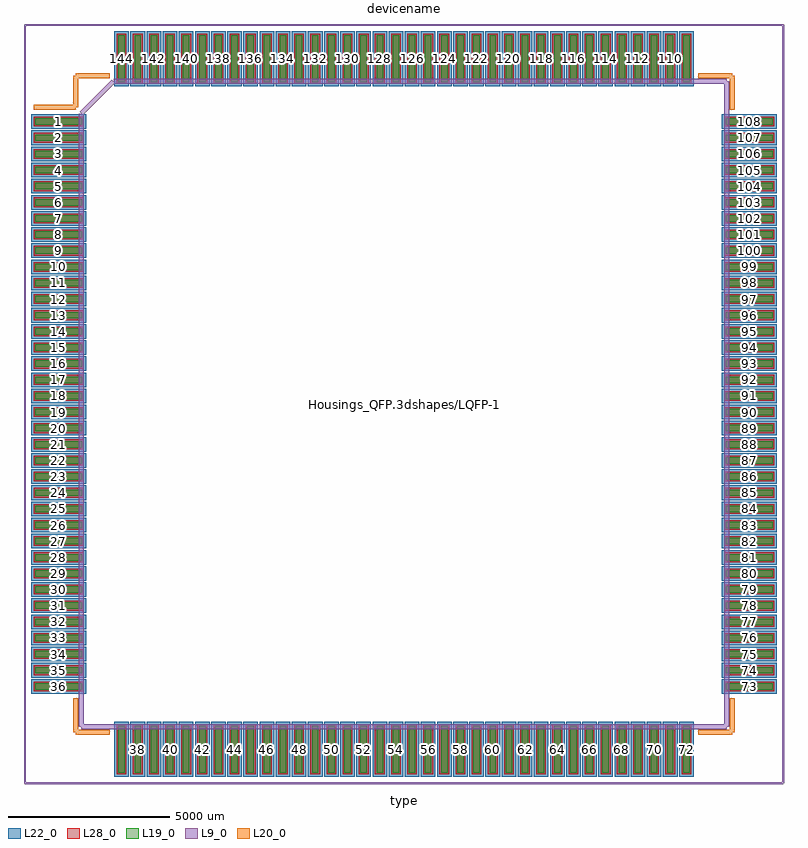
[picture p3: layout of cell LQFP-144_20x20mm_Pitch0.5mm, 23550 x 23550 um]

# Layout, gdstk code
import gdstk
lib = gdstk.Library(unit=1e-6, precision=1e-09)
def R(c, l, rs):  # rectangles x0, y0, x1, y1
    for r in rs: c.add(gdstk.rectangle(r[:2], r[2:], *l))
def A(c, l, x, y, w, h, nx, ny, dx, dy):  # array of equal rectangles
    R(c, l, [(x+i*dx, y+j*dy, x+i*dx+w, y+j*dy+h) for i in range(nx) for j in range(ny)])
L9_0 = (9, 0)
L19_0 = (19, 0)
L20_0 = (20, 0)
L22_0 = (22, 0)
L28_0 = (28, 0)

lqfp_144_20x20mm_pitch0_ = lib.new_cell('LQFP-144_20x20mm_Pitch0.5mm')
A(lqfp_144_20x20mm_pitch0_, L19_0, -8850, -11425, 200, 1450, 36, 2, 500, 21400)
A(lqfp_144_20x20mm_pitch0_, L19_0, -11425, -8850, 1450, 200, 1, 36, 0, 500)
A(lqfp_144_20x20mm_pitch0_, L19_0, 9975, -8850, 1450, 200, 1, 36, 0, 500)
A(lqfp_144_20x20mm_pitch0_, L22_0, -8975, -11550, 450, 1700, 36, 2, 500, 21400)
A(lqfp_144_20x20mm_pitch0_, L22_0, -11550, -8975, 1700, 450, 1, 36, 0, 500)
A(lqfp_144_20x20mm_pitch0_, L22_0, 9850, -8975, 1700, 450, 1, 36, 0, 500)
A(lqfp_144_20x20mm_pitch0_, L28_0, -8900, -11475, 300, 1550, 36, 2, 500, 21400)
A(lqfp_144_20x20mm_pitch0_, L28_0, -11475, -8900, 1550, 300, 1, 36, 0, 500)
A(lqfp_144_20x20mm_pitch0_, L28_0, 9925, -8900, 1550, 300, 1, 36, 0, 500)
lqfp_144_20x20mm_pitch0_.add(gdstk.FlexPath([(-10175,9200),(-11475,9200)], 149.998, ends="flush", simple_path=True, layer=20, datatype=0))  # L20_0
lqfp_144_20x20mm_pitch0_.add(gdstk.FlexPath([(10175,10175),(9125,10175)], 149.998, ends="flush", simple_path=True, layer=20, datatype=0))  # L20_0
lqfp_144_20x20mm_pitch0_.add(gdstk.FlexPath([(10175,-10175),(9125,-10175)], 149.998, ends="flush", simple_path=True, layer=20, datatype=0))  # L20_0
lqfp_144_20x20mm_pitch0_.add(gdstk.FlexPath([(-10175,-10175),(-9125,-10175)], 149.998, ends="flush", simple_path=True, layer=20, datatype=0))  # L20_0
lqfp_144_20x20mm_pitch0_.add(gdstk.FlexPath([(-10175,10175),(-9125,10175)], 149.998, ends="flush", simple_path=True, layer=20, datatype=0))  # L20_0
lqfp_144_20x20mm_pitch0_.add(gdstk.FlexPath([(-10175,-10175),(-10175,-9125)], 149.998, ends="flush", simple_path=True, layer=20, datatype=0))  # L20_0
lqfp_144_20x20mm_pitch0_.add(gdstk.FlexPath([(10175,-10175),(10175,-9125)], 149.998, ends="flush", simple_path=True, layer=20, datatype=0))  # L20_0
lqfp_144_20x20mm_pitch0_.add(gdstk.FlexPath([(10175,10175),(10175,9125)], 149.998, ends="flush", simple_path=True, layer=20, datatype=0))  # L20_0
lqfp_144_20x20mm_pitch0_.add(gdstk.FlexPath([(-10175,10175),(-10175,9200)], 149.998, ends="flush", simple_path=True, layer=20, datatype=0))  # L20_0
lqfp_144_20x20mm_pitch0_.add(gdstk.FlexPath([(-11750,-11750),(11750,-11750)], 50, ends="flush", simple_path=True, layer=9, datatype=0))  # L9_0
lqfp_144_20x20mm_pitch0_.add(gdstk.FlexPath([(-11750,11750),(11750,11750)], 50, ends="flush", simple_path=True, layer=9, datatype=0))  # L9_0
lqfp_144_20x20mm_pitch0_.add(gdstk.FlexPath([(11750,11750),(11750,-11750)], 50, ends="flush", simple_path=True, layer=9, datatype=0))  # L9_0
lqfp_144_20x20mm_pitch0_.add(gdstk.FlexPath([(-11750,11750),(-11750,-11750)], 50, ends="flush", simple_path=True, layer=9, datatype=0))  # L9_0
lqfp_144_20x20mm_pitch0_.add(gdstk.FlexPath([(-10000,9000),(-9000,10000)], 149.998, ends="flush", simple_path=True, layer=9, datatype=0))  # L9_0
lqfp_144_20x20mm_pitch0_.add(gdstk.FlexPath([(-10000,-10000),(-10000,9000)], 149.998, ends="flush", simple_path=True, layer=9, datatype=0))  # L9_0
lqfp_144_20x20mm_pitch0_.add(gdstk.FlexPath([(10000,-10000),(-10000,-10000)], 149.998, ends="flush", simple_path=True, layer=9, datatype=0))  # L9_0
lqfp_144_20x20mm_pitch0_.add(gdstk.FlexPath([(10000,10000),(10000,-10000)], 149.998, ends="flush", simple_path=True, layer=9, datatype=0))  # L9_0
lqfp_144_20x20mm_pitch0_.add(gdstk.FlexPath([(-9000,10000),(10000,10000)], 149.998, ends="flush", simple_path=True, layer=9, datatype=0))  # L9_0
lqfp_144_20x20mm_pitch0_.add(gdstk.Label('Housings_QFP.3dshapes/LQFP-144_20x20mm_Pitch0.5mm.wrl', (0,0), layer=12, texttype=0))
lqfp_144_20x20mm_pitch0_.add(gdstk.Label('144', (-8750,10700), layer=28, texttype=0))
lqfp_144_20x20mm_pitch0_.add(gdstk.Label('143', (-8250,10700), layer=28, texttype=0))
lqfp_144_20x20mm_pitch0_.add(gdstk.Label('142', (-7750,10700), layer=28, texttype=0))
lqfp_144_20x20mm_pitch0_.add(gdstk.Label('141', (-7250,10700), layer=28, texttype=0))
lqfp_144_20x20mm_pitch0_.add(gdstk.Label('140', (-6750,10700), layer=28, texttype=0))
lqfp_144_20x20mm_pitch0_.add(gdstk.Label('139', (-6250,10700), layer=28, texttype=0))
lqfp_144_20x20mm_pitch0_.add(gdstk.Label('138', (-5750,10700), layer=28, texttype=0))
lqfp_144_20x20mm_pitch0_.add(gdstk.Label('137', (-5250,10700), layer=28, texttype=0))
lqfp_144_20x20mm_pitch0_.add(gdstk.Label('136', (-4750,10700), layer=28, texttype=0))
lqfp_144_20x20mm_pitch0_.add(gdstk.Label('135', (-4250,10700), layer=28, texttype=0))
lqfp_144_20x20mm_pitch0_.add(gdstk.Label('134', (-3750,10700), layer=28, texttype=0))
lqfp_144_20x20mm_pitch0_.add(gdstk.Label('133', (-3250,10700), layer=28, texttype=0))
lqfp_144_20x20mm_pitch0_.add(gdstk.Label('132', (-2750,10700), layer=28, texttype=0))
lqfp_144_20x20mm_pitch0_.add(gdstk.Label('131', (-2250,10700), layer=28, texttype=0))
lqfp_144_20x20mm_pitch0_.add(gdstk.Label('130', (-1750,10700), layer=28, texttype=0))
lqfp_144_20x20mm_pitch0_.add(gdstk.Label('129', (-1250,10700), layer=28, texttype=0))
lqfp_144_20x20mm_pitch0_.add(gdstk.Label('128', (-750,10700), layer=28, texttype=0))
lqfp_144_20x20mm_pitch0_.add(gdstk.Label('127', (-250,10700), layer=28, texttype=0))
lqfp_144_20x20mm_pitch0_.add(gdstk.Label('126', (250,10700), layer=28, texttype=0))
lqfp_144_20x20mm_pitch0_.add(gdstk.Label('125', (750,10700), layer=28, texttype=0))
lqfp_144_20x20mm_pitch0_.add(gdstk.Label('124', (1250,10700), layer=28, texttype=0))
lqfp_144_20x20mm_pitch0_.add(gdstk.Label('123', (1750,10700), layer=28, texttype=0))
lqfp_144_20x20mm_pitch0_.add(gdstk.Label('122', (2250,10700), layer=28, texttype=0))
lqfp_144_20x20mm_pitch0_.add(gdstk.Label('121', (2750,10700), layer=28, texttype=0))
lqfp_144_20x20mm_pitch0_.add(gdstk.Label('120', (3250,10700), layer=28, texttype=0))
lqfp_144_20x20mm_pitch0_.add(gdstk.Label('119', (3750,10700), layer=28, texttype=0))
lqfp_144_20x20mm_pitch0_.add(gdstk.Label('118', (4250,10700), layer=28, texttype=0))
lqfp_144_20x20mm_pitch0_.add(gdstk.Label('117', (4750,10700), layer=28, texttype=0))
lqfp_144_20x20mm_pitch0_.add(gdstk.Label('116', (5250,10700), layer=28, texttype=0))
lqfp_144_20x20mm_pitch0_.add(gdstk.Label('115', (5750,10700), layer=28, texttype=0))
lqfp_144_20x20mm_pitch0_.add(gdstk.Label('114', (6250,10700), layer=28, texttype=0))
lqfp_144_20x20mm_pitch0_.add(gdstk.Label('113', (6750,10700), layer=28, texttype=0))
lqfp_144_20x20mm_pitch0_.add(gdstk.Label('112', (7250,10700), layer=28, texttype=0))
lqfp_144_20x20mm_pitch0_.add(gdstk.Label('111', (7750,10700), layer=28, texttype=0))
lqfp_144_20x20mm_pitch0_.add(gdstk.Label('110', (8250,10700), layer=28, texttype=0))
lqfp_144_20x20mm_pitch0_.add(gdstk.Label('109', (8750,10700), layer=28, texttype=0))
lqfp_144_20x20mm_pitch0_.add(gdstk.Label('108', (10700,8750), layer=28, texttype=0))
lqfp_144_20x20mm_pitch0_.add(gdstk.Label('107', (10700,8250), layer=28, texttype=0))
lqfp_144_20x20mm_pitch0_.add(gdstk.Label('106', (10700,7750), layer=28, texttype=0))
lqfp_144_20x20mm_pitch0_.add(gdstk.Label('105', (10700,7250), layer=28, texttype=0))
lqfp_144_20x20mm_pitch0_.add(gdstk.Label('104', (10700,6750), layer=28, texttype=0))
lqfp_144_20x20mm_pitch0_.add(gdstk.Label('103', (10700,6250), layer=28, texttype=0))
lqfp_144_20x20mm_pitch0_.add(gdstk.Label('102', (10700,5750), layer=28, texttype=0))
lqfp_144_20x20mm_pitch0_.add(gdstk.Label('101', (10700,5250), layer=28, texttype=0))
lqfp_144_20x20mm_pitch0_.add(gdstk.Label('100', (10700,4750), layer=28, texttype=0))
lqfp_144_20x20mm_pitch0_.add(gdstk.Label('99', (10700,4250), layer=28, texttype=0))
lqfp_144_20x20mm_pitch0_.add(gdstk.Label('98', (10700,3750), layer=28, texttype=0))
lqfp_144_20x20mm_pitch0_.add(gdstk.Label('97', (10700,3250), layer=28, texttype=0))
lqfp_144_20x20mm_pitch0_.add(gdstk.Label('96', (10700,2750), layer=28, texttype=0))
lqfp_144_20x20mm_pitch0_.add(gdstk.Label('95', (10700,2250), layer=28, texttype=0))
lqfp_144_20x20mm_pitch0_.add(gdstk.Label('94', (10700,1750), layer=28, texttype=0))
lqfp_144_20x20mm_pitch0_.add(gdstk.Label('93', (10700,1250), layer=28, texttype=0))
lqfp_144_20x20mm_pitch0_.add(gdstk.Label('92', (10700,750), layer=28, texttype=0))
lqfp_144_20x20mm_pitch0_.add(gdstk.Label('91', (10700,250), layer=28, texttype=0))
lqfp_144_20x20mm_pitch0_.add(gdstk.Label('90', (10700,-250), layer=28, texttype=0))
lqfp_144_20x20mm_pitch0_.add(gdstk.Label('89', (10700,-750), layer=28, texttype=0))
lqfp_144_20x20mm_pitch0_.add(gdstk.Label('88', (10700,-1250), layer=28, texttype=0))
lqfp_144_20x20mm_pitch0_.add(gdstk.Label('87', (10700,-1750), layer=28, texttype=0))
lqfp_144_20x20mm_pitch0_.add(gdstk.Label('86', (10700,-2250), layer=28, texttype=0))
lqfp_144_20x20mm_pitch0_.add(gdstk.Label('85', (10700,-2750), layer=28, texttype=0))
lqfp_144_20x20mm_pitch0_.add(gdstk.Label('84', (10700,-3250), layer=28, texttype=0))
lqfp_144_20x20mm_pitch0_.add(gdstk.Label('83', (10700,-3750), layer=28, texttype=0))
lqfp_144_20x20mm_pitch0_.add(gdstk.Label('82', (10700,-4250), layer=28, texttype=0))
lqfp_144_20x20mm_pitch0_.add(gdstk.Label('81', (10700,-4750), layer=28, texttype=0))
lqfp_144_20x20mm_pitch0_.add(gdstk.Label('80', (10700,-5250), layer=28, texttype=0))
lqfp_144_20x20mm_pitch0_.add(gdstk.Label('79', (10700,-5750), layer=28, texttype=0))
lqfp_144_20x20mm_pitch0_.add(gdstk.Label('78', (10700,-6250), layer=28, texttype=0))
lqfp_144_20x20mm_pitch0_.add(gdstk.Label('77', (10700,-6750), layer=28, texttype=0))
lqfp_144_20x20mm_pitch0_.add(gdstk.Label('76', (10700,-7250), layer=28, texttype=0))
lqfp_144_20x20mm_pitch0_.add(gdstk.Label('75', (10700,-7750), layer=28, texttype=0))
lqfp_144_20x20mm_pitch0_.add(gdstk.Label('74', (10700,-8250), layer=28, texttype=0))
lqfp_144_20x20mm_pitch0_.add(gdstk.Label('73', (10700,-8750), layer=28, texttype=0))
lqfp_144_20x20mm_pitch0_.add(gdstk.Label('72', (8750,-10700), layer=28, texttype=0))
lqfp_144_20x20mm_pitch0_.add(gdstk.Label('71', (8250,-10700), layer=28, texttype=0))
lqfp_144_20x20mm_pitch0_.add(gdstk.Label('70', (7750,-10700), layer=28, texttype=0))
lqfp_144_20x20mm_pitch0_.add(gdstk.Label('69', (7250,-10700), layer=28, texttype=0))
lqfp_144_20x20mm_pitch0_.add(gdstk.Label('68', (6750,-10700), layer=28, texttype=0))
lqfp_144_20x20mm_pitch0_.add(gdstk.Label('67', (6250,-10700), layer=28, texttype=0))
lqfp_144_20x20mm_pitch0_.add(gdstk.Label('66', (5750,-10700), layer=28, texttype=0))
lqfp_144_20x20mm_pitch0_.add(gdstk.Label('65', (5250,-10700), layer=28, texttype=0))
lqfp_144_20x20mm_pitch0_.add(gdstk.Label('64', (4750,-10700), layer=28, texttype=0))
lqfp_144_20x20mm_pitch0_.add(gdstk.Label('63', (4250,-10700), layer=28, texttype=0))
lqfp_144_20x20mm_pitch0_.add(gdstk.Label('62', (3750,-10700), layer=28, texttype=0))
lqfp_144_20x20mm_pitch0_.add(gdstk.Label('61', (3250,-10700), layer=28, texttype=0))
lqfp_144_20x20mm_pitch0_.add(gdstk.Label('60', (2750,-10700), layer=28, texttype=0))
lqfp_144_20x20mm_pitch0_.add(gdstk.Label('59', (2250,-10700), layer=28, texttype=0))
lqfp_144_20x20mm_pitch0_.add(gdstk.Label('58', (1750,-10700), layer=28, texttype=0))
lqfp_144_20x20mm_pitch0_.add(gdstk.Label('57', (1250,-10700), layer=28, texttype=0))
lqfp_144_20x20mm_pitch0_.add(gdstk.Label('56', (750,-10700), layer=28, texttype=0))
lqfp_144_20x20mm_pitch0_.add(gdstk.Label('55', (250,-10700), layer=28, texttype=0))
lqfp_144_20x20mm_pitch0_.add(gdstk.Label('54', (-250,-10700), layer=28, texttype=0))
lqfp_144_20x20mm_pitch0_.add(gdstk.Label('53', (-750,-10700), layer=28, texttype=0))
lqfp_144_20x20mm_pitch0_.add(gdstk.Label('52', (-1250,-10700), layer=28, texttype=0))
lqfp_144_20x20mm_pitch0_.add(gdstk.Label('51', (-1750,-10700), layer=28, texttype=0))
lqfp_144_20x20mm_pitch0_.add(gdstk.Label('50', (-2250,-10700), layer=28, texttype=0))
lqfp_144_20x20mm_pitch0_.add(gdstk.Label('49', (-2750,-10700), layer=28, texttype=0))
lqfp_144_20x20mm_pitch0_.add(gdstk.Label('48', (-3250,-10700), layer=28, texttype=0))
lqfp_144_20x20mm_pitch0_.add(gdstk.Label('47', (-3750,-10700), layer=28, texttype=0))
lqfp_144_20x20mm_pitch0_.add(gdstk.Label('46', (-4250,-10700), layer=28, texttype=0))
lqfp_144_20x20mm_pitch0_.add(gdstk.Label('45', (-4750,-10700), layer=28, texttype=0))
lqfp_144_20x20mm_pitch0_.add(gdstk.Label('44', (-5250,-10700), layer=28, texttype=0))
lqfp_144_20x20mm_pitch0_.add(gdstk.Label('43', (-5750,-10700), layer=28, texttype=0))
lqfp_144_20x20mm_pitch0_.add(gdstk.Label('42', (-6250,-10700), layer=28, texttype=0))
lqfp_144_20x20mm_pitch0_.add(gdstk.Label('41', (-6750,-10700), layer=28, texttype=0))
lqfp_144_20x20mm_pitch0_.add(gdstk.Label('40', (-7250,-10700), layer=28, texttype=0))
lqfp_144_20x20mm_pitch0_.add(gdstk.Label('39', (-7750,-10700), layer=28, texttype=0))
lqfp_144_20x20mm_pitch0_.add(gdstk.Label('38', (-8250,-10700), layer=28, texttype=0))
lqfp_144_20x20mm_pitch0_.add(gdstk.Label('37', (-8750,-10700), layer=28, texttype=0))
lqfp_144_20x20mm_pitch0_.add(gdstk.Label('36', (-10700,-8750), layer=28, texttype=0))
lqfp_144_20x20mm_pitch0_.add(gdstk.Label('35', (-10700,-8250), layer=28, texttype=0))
lqfp_144_20x20mm_pitch0_.add(gdstk.Label('34', (-10700,-7750), layer=28, texttype=0))
lqfp_144_20x20mm_pitch0_.add(gdstk.Label('33', (-10700,-7250), layer=28, texttype=0))
lqfp_144_20x20mm_pitch0_.add(gdstk.Label('32', (-10700,-6750), layer=28, texttype=0))
lqfp_144_20x20mm_pitch0_.add(gdstk.Label('31', (-10700,-6250), layer=28, texttype=0))
lqfp_144_20x20mm_pitch0_.add(gdstk.Label('30', (-10700,-5750), layer=28, texttype=0))
lqfp_144_20x20mm_pitch0_.add(gdstk.Label('29', (-10700,-5250), layer=28, texttype=0))
lqfp_144_20x20mm_pitch0_.add(gdstk.Label('28', (-10700,-4750), layer=28, texttype=0))
lqfp_144_20x20mm_pitch0_.add(gdstk.Label('27', (-10700,-4250), layer=28, texttype=0))
lqfp_144_20x20mm_pitch0_.add(gdstk.Label('26', (-10700,-3750), layer=28, texttype=0))
lqfp_144_20x20mm_pitch0_.add(gdstk.Label('25', (-10700,-3250), layer=28, texttype=0))
lqfp_144_20x20mm_pitch0_.add(gdstk.Label('24', (-10700,-2750), layer=28, texttype=0))
lqfp_144_20x20mm_pitch0_.add(gdstk.Label('23', (-10700,-2250), layer=28, texttype=0))
lqfp_144_20x20mm_pitch0_.add(gdstk.Label('22', (-10700,-1750), layer=28, texttype=0))
lqfp_144_20x20mm_pitch0_.add(gdstk.Label('21', (-10700,-1250), layer=28, texttype=0))
lqfp_144_20x20mm_pitch0_.add(gdstk.Label('20', (-10700,-750), layer=28, texttype=0))
lqfp_144_20x20mm_pitch0_.add(gdstk.Label('19', (-10700,-250), layer=28, texttype=0))
lqfp_144_20x20mm_pitch0_.add(gdstk.Label('18', (-10700,250), layer=28, texttype=0))
lqfp_144_20x20mm_pitch0_.add(gdstk.Label('17', (-10700,750), layer=28, texttype=0))
lqfp_144_20x20mm_pitch0_.add(gdstk.Label('16', (-10700,1250), layer=28, texttype=0))
lqfp_144_20x20mm_pitch0_.add(gdstk.Label('15', (-10700,1750), layer=28, texttype=0))
lqfp_144_20x20mm_pitch0_.add(gdstk.Label('14', (-10700,2250), layer=28, texttype=0))
lqfp_144_20x20mm_pitch0_.add(gdstk.Label('13', (-10700,2750), layer=28, texttype=0))
lqfp_144_20x20mm_pitch0_.add(gdstk.Label('12', (-10700,3250), layer=28, texttype=0))
lqfp_144_20x20mm_pitch0_.add(gdstk.Label('11', (-10700,3750), layer=28, texttype=0))
lqfp_144_20x20mm_pitch0_.add(gdstk.Label('10', (-10700,4250), layer=28, texttype=0))
lqfp_144_20x20mm_pitch0_.add(gdstk.Label('9', (-10700,4750), layer=28, texttype=0))
lqfp_144_20x20mm_pitch0_.add(gdstk.Label('8', (-10700,5250), layer=28, texttype=0))
lqfp_144_20x20mm_pitch0_.add(gdstk.Label('7', (-10700,5750), layer=28, texttype=0))
lqfp_144_20x20mm_pitch0_.add(gdstk.Label('6', (-10700,6250), layer=28, texttype=0))
lqfp_144_20x20mm_pitch0_.add(gdstk.Label('5', (-10700,6750), layer=28, texttype=0))
lqfp_144_20x20mm_pitch0_.add(gdstk.Label('4', (-10700,7250), layer=28, texttype=0))
lqfp_144_20x20mm_pitch0_.add(gdstk.Label('3', (-10700,7750), layer=28, texttype=0))
lqfp_144_20x20mm_pitch0_.add(gdstk.Label('2', (-10700,8250), layer=28, texttype=0))
lqfp_144_20x20mm_pitch0_.add(gdstk.Label('1', (-10700,8750), layer=28, texttype=0))
lqfp_144_20x20mm_pitch0_.add(gdstk.Label('%R', (0,0), layer=9, texttype=0))
lqfp_144_20x20mm_pitch0_.add(gdstk.Label('type', (0,-12475), layer=9, texttype=0))
lqfp_144_20x20mm_pitch0_.add(gdstk.Label('devicename', (0,12475), layer=9, texttype=0))

lib.write_gds('LQFP-144_20x20mm_Pitch0.5mm.gds')
